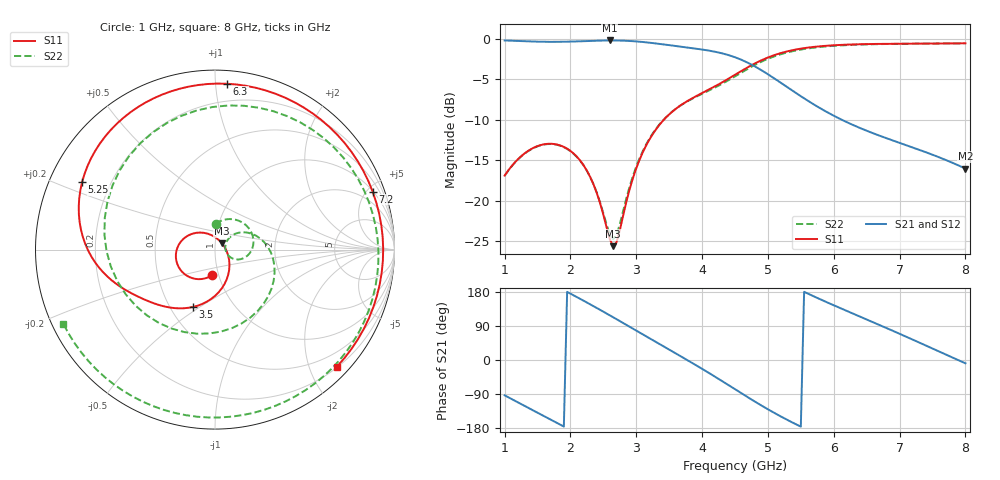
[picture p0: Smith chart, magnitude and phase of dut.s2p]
# GHz S RI R 50
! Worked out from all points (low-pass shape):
!   141 points, 1 GHz to 8 GHz, reference 50 ohm
!   highest |S21| = -0.17 dB at 2.6 GHz (marker M1); lowest = -16.0 dB at 8 GHz (marker M2)
!   |S21| within 3 dB of the highest: start of sweep to 4.754 GHz
!   lowest |S11| = -25.6 dB at 2.65 GHz (marker M3), VSWR 1.11, Z = 53.9 + j3.81 ohm
!   |S11| at or under -10 dB: start of sweep to 3.418 GHz
!   |S22| runs from -24.8 to -0.5 dB; largest |S21 - S12| = 0
!   S11 on the Smith chart (normalised r, x): 1 GHz: 0.93, -0.27; 3.5 GHz: 0.65, -0.47; 5.25 GHz: 0.10, +0.24; 6.3 GHz: 0.08, +1.07; 7.2 GHz: 1.04, +5.41; 8 GHz: 0.21, -2.47
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1  -0.0165 -0.1419  -0.0541 -0.9784  -0.0541 -0.9784  0.00309 0.1423
1.3  -0.1074 -0.1634  -0.4963 -0.8325  -0.4963 -0.8325  0.0959 0.1696
1.65  -0.2033 -0.0955  -0.8545 -0.4402  -0.8545 -0.4402  0.1964 0.1073
2.2  -0.1442 0.0812  -0.8894 0.3878  -0.8894 0.3878  0.1577 -0.0485
2.6  0.0216 0.0532  -0.4553 0.8679  -0.4553 0.8679  0.0609 -0.00971
2.65  0.0385 0.0353  -0.3785 0.9041  -0.3785 0.9041  0.0576 0.00509
3  0.0735 -0.1405  0.2083 0.9441  0.2083 0.9441  0.1326 0.0943
3.35  -0.0454 -0.2901  0.6898 0.6291  0.6898 0.6291  0.2954 0.0135
3.5  -0.1214 -0.3194  0.8143 0.4215  0.8143 0.4215  0.3307 -0.0894
3.8  -0.2715 -0.319  0.8829 -0.0427  0.8829 -0.0427  0.2371 -0.3425
4.1  -0.4007 -0.2749  0.7054 -0.4718  0.7054 -0.4718  -0.0991 -0.4686
4.5  -0.5763 -0.1704  0.173 -0.7519  0.173 -0.7519  -0.58 -0.0954
4.8  -0.7057 -0.00729  -0.2264 -0.6388  -0.2264 -0.6388  -0.53 0.443
5.05  -0.7583 0.1947  -0.4157 -0.415  -0.4157 -0.415  -0.1864 0.7456
5.25  -0.7405 0.3756  -0.4656 -0.227  -0.4656 -0.227  0.1602 0.8014
5.7  -0.509 0.7354  -0.3842 0.0838  -0.3842 0.0838  0.7597 0.4532
6  -0.2451 0.8818  -0.2728 0.1952  -0.2728 0.1952  0.9059 0.0572
6.3  0.0676 0.924  -0.1548 0.2487  -0.1548 0.2487  0.857 -0.3375
6.85  0.637 0.6836  0.0388 0.2362  0.0388 0.2362  0.3939 -0.8454
7.2  0.8782 0.3236  0.1262 0.172  0.1262 0.172  -0.0357 -0.9353
7.6  0.9181 -0.1919  0.1715 0.0707  0.1715 0.0707  -0.5131 -0.7858
8  0.679 -0.6525  0.1561 -0.0242  0.1561 -0.0242  -0.8443 -0.4145
